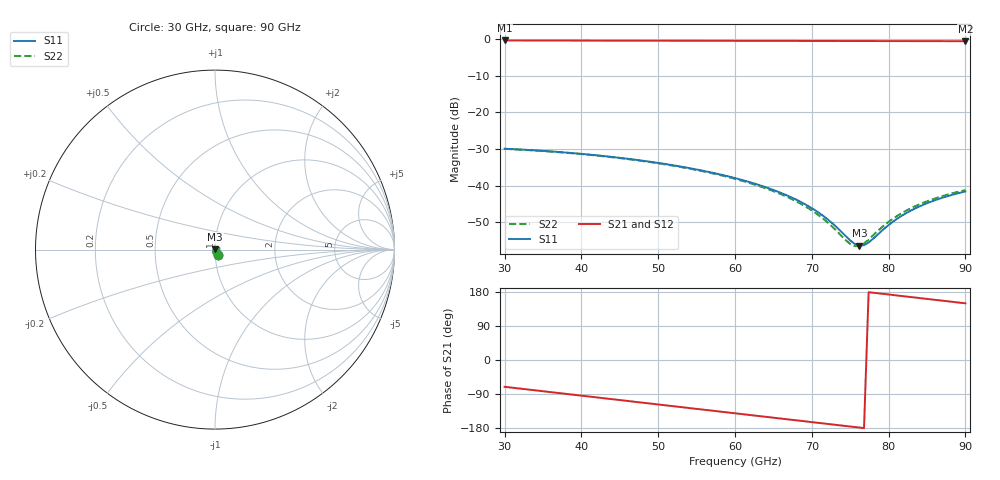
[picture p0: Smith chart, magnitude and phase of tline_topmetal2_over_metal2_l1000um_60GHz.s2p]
#  GHZ S DB R 50
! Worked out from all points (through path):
!   101 points, 30 GHz to 90 GHz, reference 50 ohm
!   highest |S21| = -0.37 dB at 30 GHz (marker M1); lowest = -0.6 dB at 90 GHz (marker M2)
!   group delay of S21, straight-line fit = 6.47 ps
!   lowest |S11| = -56.3 dB at 76.2 GHz (marker M3), VSWR 1.00, Z = 50 + j0.152 ohm
!   |S11| at or under -10 dB: start of sweep to end of sweep
!   |S22| runs from -56.5 to -29.9 dB; largest |S21 - S12| = 1.1e-14
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30  -29.90 -61.5  -0.37 -70.7  -0.37 -70.7  -29.93 -61.4
35.4  -30.54 -76.4  -0.39 -83.3  -0.39 -83.3  -30.58 -76.3
40.2  -31.33 -89.7  -0.41 -94.5  -0.41 -94.5  -31.39 -89.6
45  -32.37 -103.1  -0.43 -105.7  -0.43 -105.7  -32.45 -103.1
50.4  -33.89 -118.5  -0.45 -118.3  -0.45 -118.3  -33.99 -118.4
55.8  -35.88 -134.4  -0.47 -130.9  -0.47 -130.9  -36.03 -134.3
60  -37.90 -147.3  -0.48 -140.6  -0.48 -140.6  -38.10 -147.2
63  -39.70 -157.1  -0.49 -147.6  -0.49 -147.6  -39.96 -157.1
66  -41.94 -167.9  -0.50 -154.6  -0.50 -154.6  -42.31 -168.0
68.4  -44.22 -177.8  -0.51 -160.2  -0.51 -160.2  -44.71 -178.3
70.2  -46.36 173.1  -0.51 -164.4  -0.51 -164.4  -46.99 172.1
72.6  -50.08 155.8  -0.52 -169.9  -0.52 -169.9  -51.01 153.0
75  -54.87 120.8  -0.53 -175.5  -0.53 -175.5  -55.84 110.6
75.6  -55.84 106.1  -0.53 -176.9  -0.53 -176.9  -56.46 93.5
76.2  -56.33 89.1  -0.53 -178.3  -0.53 -178.3  -56.40 75.5
76.8  -56.18 71.6  -0.53 -179.7  -0.53 -179.7  -55.71 59.0
77.4  -55.46 55.9  -0.53 178.9  -0.53 178.9  -54.64 45.4
80.4  -50.05 12.1  -0.54 171.9  -0.54 171.9  -49.21 8.9
82.2  -47.56 -0.6  -0.55 167.7  -0.55 167.7  -46.88 -2.5
84.6  -45.09 -12.7  -0.56 162.1  -0.56 162.1  -44.55 -13.8
87  -43.26 -22.6  -0.57 156.6  -0.57 156.6  -42.81 -23.3
90  -41.54 -33.3  -0.57 149.6  -0.57 149.6  -41.17 -33.8
